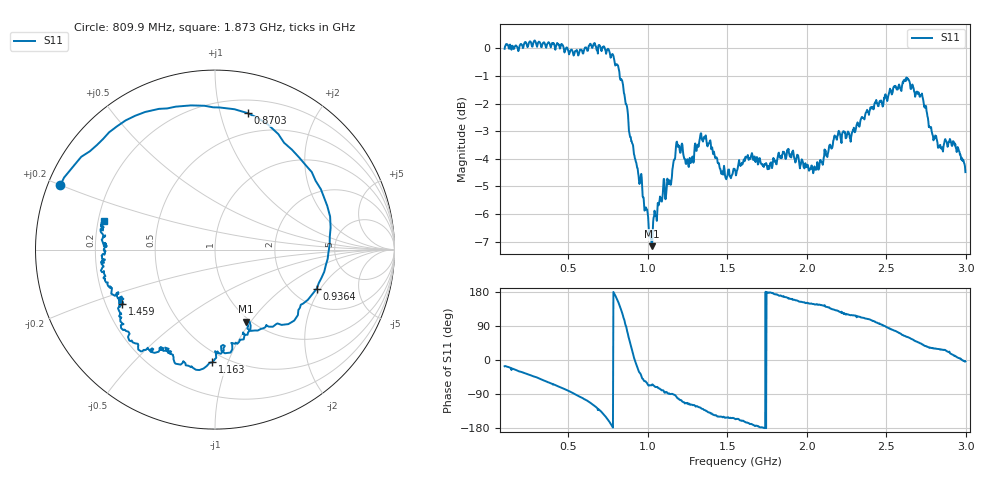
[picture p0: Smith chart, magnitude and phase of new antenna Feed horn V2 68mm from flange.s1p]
# HZ S RI R 50
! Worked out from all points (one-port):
!   1009 points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, 100 MHz to 2.997 GHz, reference 50 ohm
!   lowest |S11| = -7.2 dB at 1.025 GHz (marker M1), VSWR 2.56, Z = 47.8 - j47.7 ohm
!   |S11| at or under -10 dB: nowhere
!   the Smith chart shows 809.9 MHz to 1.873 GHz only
!   S11 on the Smith chart (normalised r, x): 809.9 MHz: 0.04, +0.20; 870.3 MHz: 0.31, +1.22; 936.4 MHz: 2.68, -1.85; 1.163 GHz: 0.43, -0.88; 1.459 GHz: 0.27, -0.25; 1.873 GHz: 0.22, +0.12
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1e8  0.9577 -0.2825
2.95441e8  0.7272 -0.7247
4.621408e8  0.2806 -0.9776
5.97225e8  -0.2137 -0.9642
6.690783e8  -0.5409 -0.8607
7.380575e8  -0.8581 -0.4688
7.782954e8  -0.9748 -0.0658
8.099109e8  -0.8618 0.3576
8.242815e8  -0.6973 0.5478
8.501487e8  -0.2659 0.7866
8.702676e8  0.1812 0.7605
9.018831e8  0.6084 0.2883
9.363727e8  0.5663 -0.2182
9.708623e8  0.3426 -0.4139
1.025471e9  0.1741 -0.4024
1.163429e9  -0.0152 -0.6265
1.186422e9  -0.1228 -0.6588
1.367493e9  -0.4847 -0.4869
1.459465e9  -0.5162 -0.3025
1.548563e9  -0.5475 -0.2487
1.87334e9  -0.6202 0.1619
1.910704e9  -0.6132 0.218
2.272845e9  -0.3308 0.6067
2.413677e9  -0.1748 0.7589
2.537265e9  0.1431 0.8163
2.634985e9  0.4384 0.7617
2.738454e9  0.6156 0.4843
2.997126e9  0.5958 -0.0378
